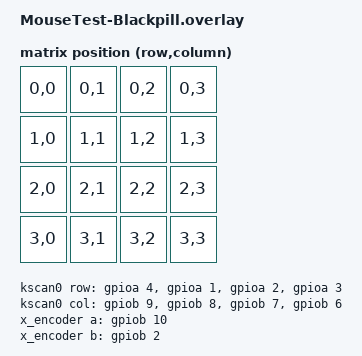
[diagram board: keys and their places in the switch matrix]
#include <dt-bindings/zmk/matrix_transform.h>

/ {
    chosen {
        zmk,kscan = &kscan0;
    };

    default_transform: keymap_transform_0 {
        compatible = "zmk,matrix-transform";
        columns = <4>;
        rows = <4>;
        map = <
            RC(0,0) RC(0,1) RC(0,2) RC(0,3)
            RC(1,0) RC(1,1) RC(1,2) RC(1,3)
            RC(2,0) RC(2,1) RC(2,2) RC(2,3)
            RC(3,0) RC(3,1) RC(3,2) RC(3,3)
        >;
    };

    kscan0: kscan {
        compatible = "zmk,kscan-gpio-matrix";
        //label = "KSCAN";

        diode-direction = "row2col";
        row-gpios
            = <&gpioa  4 GPIO_ACTIVE_HIGH> // PA4
            , <&gpioa  1 GPIO_ACTIVE_HIGH> // PA1
            , <&gpioa  2 GPIO_ACTIVE_HIGH> // PA2
            , <&gpioa  3 GPIO_ACTIVE_HIGH> // PA3
            ;

        col-gpios
            = <&gpiob  9 (GPIO_ACTIVE_HIGH | GPIO_PULL_DOWN)> // PB9
            , <&gpiob  8 (GPIO_ACTIVE_HIGH | GPIO_PULL_DOWN)> // PB8
            , <&gpiob  7 (GPIO_ACTIVE_HIGH | GPIO_PULL_DOWN)> // PB7
            , <&gpiob  6 (GPIO_ACTIVE_HIGH | GPIO_PULL_DOWN)> // PB6
            ;
    };

    x_encoder: encoder_left {
        compatible = "alps,ec11";
        a-gpios = <&gpiob 10 (GPIO_ACTIVE_HIGH | GPIO_PULL_UP)>;
        b-gpios = <&gpiob  2 (GPIO_ACTIVE_HIGH | GPIO_PULL_UP)>;
        steps = <36>;
    };


    sensors: sensors {
        compatible = "zmk,keymap-sensors";
        sensors = <&x_encoder>;
        triggers-per-rotation = <36>;
    };
};
